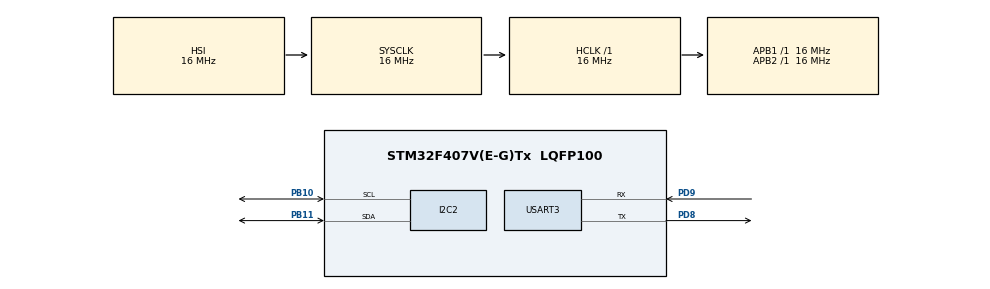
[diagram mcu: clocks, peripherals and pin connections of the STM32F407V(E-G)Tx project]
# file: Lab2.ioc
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Mcu.Family=STM32F4
Mcu.Name=STM32F407V(E-G)Tx
Mcu.Package=LQFP100
NVIC.PriorityGroup=NVIC_PRIORITYGROUP_4
PB10.Mode=I2C
PB10.Signal=I2C2_SCL
PB11.Mode=I2C
PB11.Signal=I2C2_SDA
PD8.Mode=Asynchronous
PD8.Signal=USART3_TX
PD9.Mode=Asynchronous
PD9.Signal=USART3_RX
ProjectManager.HeapSize=0x200
ProjectManager.StackSize=0x400
ProjectManager.TargetToolchain=STM32CubeIDE
RCC.AHBFreq_Value=16000000
RCC.APB1Freq_Value=16000000
RCC.APB2Freq_Value=16000000
RCC.CortexFreq_Value=16000000
RCC.HSE_VALUE=25000000
RCC.HSI_VALUE=16000000
RCC.LSE_VALUE=32768
RCC.SYSCLKFreq_VALUE=16000000
RCC.VCOOutputFreq_Value=192000000
USART3.VirtualMode=VM_ASYNC
board=custom

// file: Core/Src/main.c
	/* USER CODE BEGIN Header */
/**
  ******************************************************************************
  * @file           : main.c
  * @brief          : Main program body
  ******************************************************************************
  * @attention
  *
  * Copyright (c) 2024 STMicroelectronics.
  * All rights reserved.
  *
  * This software is licensed under terms that can be found in the LICENSE file
  * in the root directory of this software component.
  * If no LICENSE file comes with this software, it is provided AS-IS.
  *
  ******************************************************************************
  */
/* USER CODE END Header */
#include "main.h"
#include "MPU6050.h"

 I2C_HandleTypeDef hi2c2;

UART_HandleTypeDef huart3;

/* USER CODE BEGIN PV */
uint8_t IMU_ADDR = 0x68<<1;
IMU_Data imu;
/* USER CODE END PV */

void SystemClock_Config(void);
static void MX_GPIO_Init(void);
static void MX_I2C2_Init(void);
static void MX_USART3_UART_Init(void);

int main(void)
{
  /* USER CODE BEGIN 1 */
  uint8_t status = IMU_Initialise(&imu, &hi2c2, &huart3);
  char sbuf[64];
  float roll_a=0.0, pitch_a=0.0;
  float dt = 0.0;
  uint32_t millisOld = 0, millisNow = 0;
  float roll_g_now = 0.0, pitch_g_now = 0.0, yaw_g_now = 0.0;
  float roll_g_old = 0.0, pitch_g_old = 0.0, yaw_g_old = 0.0;
  float CF_roll, CF_pitch, CF_roll_old, CF_pitch_old;
  float w;
  float var_gyro = 16.0, var_acc = 9.0;
  float KG_roll=0.0, KG_pitch=0.0, KF_roll=0.0, KF_pitch=0.0;
  float var_groll=0.0,var_gpitch=0.0;
  /* USER CODE END 1 */

  /* MCU Configuration--------------------------------------------------------*/

  /* Reset of all peripherals, Initializes the Flash interface and the Systick. */
  HAL_Init();

  /* Configure the system clock */
  SystemClock_Config();

  /* Initialize all configured peripherals */
  MX_GPIO_Init();
  MX_I2C2_Init();
  MX_USART3_UART_Init();
  /* USER CODE BEGIN 2 */
    w = 0.7;
    CF_roll = 0.0;
    CF_pitch = 0.0;
  /* USER CODE END 2 */

  /* Infinite loop */
  /* USER CODE BEGIN WHILE */
  while (1)
  {
	IMU_AccelRead(&imu);
	IMU_GyroRead(&imu);
	//0:X, 1:Y, 2:Z

	//--------------------Accelerometer----------------------------
//    sprintf(sbuf, "%5.2f,%5.2f,%5.2f,", imu.acc[0],imu.acc[1],imu.acc[2]);
//    HAL_UART_Transmit(&huart3, sbuf, strlen(sbuf), HAL_MAX_DELAY);

    //Finding angle
    //Roll angle = tan-1(x/z)
	roll_a = atan2(imu.acc[0],imu.acc[2]);

    //Pitch angle = tan-1(y/z)
    pitch_a = atan2(imu.acc[1],imu.acc[2]);

    //convert to radian
    roll_a = roll_a * 57.3;
    pitch_a = pitch_a * 57.3;
//    sprintf(sbuf, "%5.2f,%5.2f", roll_a, pitch_a);
//    HAL_UART_Transmit(&huart3, sbuf, strlen(sbuf), HAL_MAX_DELAY);

    //--------------------Gyroscope-------------------------------------
//    sprintf(sbuf,"%5.2f,%5.2f,%5.2f", imu.gyro[0],imu.gyro[1],imu.gyro[2]);
//	HAL_UART_Transmit(&huart3, sbuf, strlen(sbuf), HAL_MAX_DELAY);

    millisNow = HAL_GetTick();
    dt = (millisNow - millisOld) * 0.001;  //elapsed time in milliseconds
    millisOld = millisNow;

    //Finding angle
    //a[n] = a[n-1] + imu.gyro * t
    roll_g_old = roll_g_now;
    pitch_g_old = pitch_g_now;
    yaw_g_old = yaw_g_now;

      roll_g_now += imu.gyro[0] * dt;
      pitch_g_now += imu.gyro[1]* dt;
	  yaw_g_now += imu.gyro[2] * dt;

//      sprintf(sbuf,"%5.2f,%5.2f,%5.2f\r\n", roll_g_now,pitch_g_now,yaw_g_now);
//    roll_g_now = roll_g_old + imu.gyro[0] * dt;    //roll
//    pitch_g_now = pitch_g_old + imu.gyro[1] * dt;   //pitch
//    yaw_g_now = yaw_g_old + imu.gyro[2] * dt;     //yaw

//    roll_g_now += imu.gyro[0] * dt;    //roll
//    pitch_g_now += imu.gyro[1] * dt;   //pitch
//    yaw_g_now += imu.gyro[2] * dt;     //yaw

//    sprintf(sbuf,"%5.2f,%5.2f,%5.2f,%5.2f,%5.2f\r\n", roll_a, pitch_a, roll_g_now, pitch_g_now, yaw_g_now,);
//	HAL_UART_Transmit(&huart3, sbuf, strlen(sbuf), HAL_MAX_DELAY);

    //---------------Sensor Fusion---------------------

    //Complementary Filter.....................
    //a[n] = (1-w)*(a_a[n]) + w*(pitch_g_now)
    w = 0.9;

    CF_roll_old = CF_roll;
    CF_roll = (1-w)*(roll_a) + w * (CF_roll_old + imu.gyro[0]*dt);    //roll

    CF_pitch_old = CF_pitch;
    CF_pitch = (1-w)*(pitch_a) + w * (CF_pitch_old + imu.gyro[1]*dt); //pitch

//    sprintf(sbuf,"%5.2f,%5.2f,%5.2f,%5.2f,%5.2f,%5.2f,%5.2f\r\n", roll_a, pitch_a, roll_g_now, pitch_g_now, yaw_g_now,CF_roll,CF_pitch);
//    HAL_UART_Transmit(&huart3, sbuf, strlen(sbuf), HAL_MAX_DELAY);

    //Kalman Filter....................
    //1. Get readings from Gyro and Accel
    //2. Calculate roll and pitch angles from Accel
    //   roll_a, pitch_a
    //3. Calculate roll and pitch angles from Gyro
    //   roll_g_now, pitch_g_now
    //4. Calculate uncertainty/variance of Gyro pitch and roll angles
    //   -- old_var_gyro = old_var_gyro + (dt^2 * var_gyro)
    //5. Calculate Kalman Gain
    //   -- KG = var_gyro / (var_gyro + var_acc)
    //6. Use KG to update the estimated roll/pitch angles of Gyroscope
    //   obtained in step 3
    //   -- new_x_gyro = old_x_gyro + KG * (x_acc - old_x_gyro)
    //7. Use KG to update uncertainty of Gyro readings in step 4
    //   -- new_var_gyro = (1-KG)*old_var_gyro
    //8. Repeat from step 1

    //Variance values
    //var_acc = 9
    //var_gyro = 16
    //init_var_gyro = 4

//
//    var_gyro_old = var_gyro_old + (dt*dt*var_gyro);
//    KG_roll = var_gyro/(var_gyro + var_acc);
//    //roll
//    roll_KF = roll_g_now + KG_roll * (roll_a - roll_g_now);
//    //pitch
//    pitch_KF = pitch_g_now + KG_roll * (pitch_a - pitch_g_now);
//    var_gyro = (1 - KG_roll) * var_gyro_old;

    KF_roll = KF_roll + imu.gyro[0]*dt*dt;
    KF_pitch = KF_pitch + imu.gyro[1]*dt*dt;

    var_groll = var_groll + dt*dt*var_gyro;
    var_gpitch = var_gpitch + dt*dt*var_gyro;

    KG_roll = var_groll/(var_groll + var_acc);
    KG_pitch = var_gpitch/(var_gpitch+var_acc);

    KF_roll = KF_roll + KG_roll*(roll_a - KF_roll);
    KF_pitch = KF_pitch + KG_pitch*(pitch_a - KF_pitch);

    var_groll = (1-KG_roll)*var_groll;
    var_gpitch = (1-KG_pitch)*var_gpitch;

    sprintf(sbuf,"%5.2f,%5.2f,%5.2f,%5.2f,%5.2f,%5.2f,%5.2f,%5.2f,%5.2f\r\n", roll_a, pitch_a, roll_g_now, pitch_g_now, yaw_g_now,CF_roll,CF_pitch, KF_roll,KF_pitch);
    HAL_UART_Transmit(&huart3, sbuf, strlen(sbuf), HAL_MAX_DELAY);
    //finish
    /* USER CODE END WHILE */

  }
}

void SystemClock_Config(void)
{
  RCC_OscInitTypeDef RCC_OscInitStruct = {0};
  RCC_ClkInitTypeDef RCC_ClkInitStruct = {0};

  /** Configure the main internal regulator output voltage
  */
  __HAL_RCC_PWR_CLK_ENABLE();
  __HAL_PWR_VOLTAGESCALING_CONFIG(PWR_REGULATOR_VOLTAGE_SCALE1);

  /** Initializes the RCC Oscillators according to the specified parameters
  * in the RCC_OscInitTypeDef structure.
  */
  RCC_OscInitStruct.OscillatorType = RCC_OSCILLATORTYPE_HSI;
  RCC_OscInitStruct.HSIState = RCC_HSI_ON;
  RCC_OscInitStruct.HSICalibrationValue = RCC_HSICALIBRATION_DEFAULT;
  RCC_OscInitStruct.PLL.PLLState = RCC_PLL_NONE;
  if (HAL_RCC_OscConfig(&RCC_OscInitStruct) != HAL_OK)
  {
    Error_Handler();
  }

  /** Initializes the CPU, AHB and APB buses clocks
  */
  RCC_ClkInitStruct.ClockType = RCC_CLOCKTYPE_HCLK|RCC_CLOCKTYPE_SYSCLK
                              |RCC_CLOCKTYPE_PCLK1|RCC_CLOCKTYPE_PCLK2;
  RCC_ClkInitStruct.SYSCLKSource = RCC_SYSCLKSOURCE_HSI;
  RCC_ClkInitStruct.AHBCLKDivider = RCC_SYSCLK_DIV1;
  RCC_ClkInitStruct.APB1CLKDivider = RCC_HCLK_DIV1;
  RCC_ClkInitStruct.APB2CLKDivider = RCC_HCLK_DIV1;

  if (HAL_RCC_ClockConfig(&RCC_ClkInitStruct, FLASH_LATENCY_0) != HAL_OK)
  {
    Error_Handler();
  }
}

static void MX_I2C2_Init(void)
{

  hi2c2.Instance = I2C2;
  hi2c2.Init.ClockSpeed = 100000;
  hi2c2.Init.DutyCycle = I2C_DUTYCYCLE_2;
  hi2c2.Init.OwnAddress1 = 0;
  hi2c2.Init.AddressingMode = I2C_ADDRESSINGMODE_7BIT;
  hi2c2.Init.DualAddressMode = I2C_DUALADDRESS_DISABLE;
  hi2c2.Init.OwnAddress2 = 0;
  hi2c2.Init.GeneralCallMode = I2C_GENERALCALL_DISABLE;
  hi2c2.Init.NoStretchMode = I2C_NOSTRETCH_DISABLE;
  if (HAL_I2C_Init(&hi2c2) != HAL_OK)
  {
    Error_Handler();
  }

}

static void MX_USART3_UART_Init(void)
{

  huart3.Instance = USART3;
  huart3.Init.BaudRate = 115200;
  huart3.Init.WordLength = UART_WORDLENGTH_8B;
  huart3.Init.StopBits = UART_STOPBITS_1;
  huart3.Init.Parity = UART_PARITY_NONE;
  huart3.Init.Mode = UART_MODE_TX_RX;
  huart3.Init.HwFlowCtl = UART_HWCONTROL_NONE;
  huart3.Init.OverSampling = UART_OVERSAMPLING_16;
  if (HAL_UART_Init(&huart3) != HAL_OK)
  {
    Error_Handler();
  }

}

static void MX_GPIO_Init(void)
{

  /* GPIO Ports Clock Enable */
  __HAL_RCC_GPIOB_CLK_ENABLE();
  __HAL_RCC_GPIOD_CLK_ENABLE();

}

void Error_Handler(void)
{
  __disable_irq();
  while (1)
  {
  }
}
